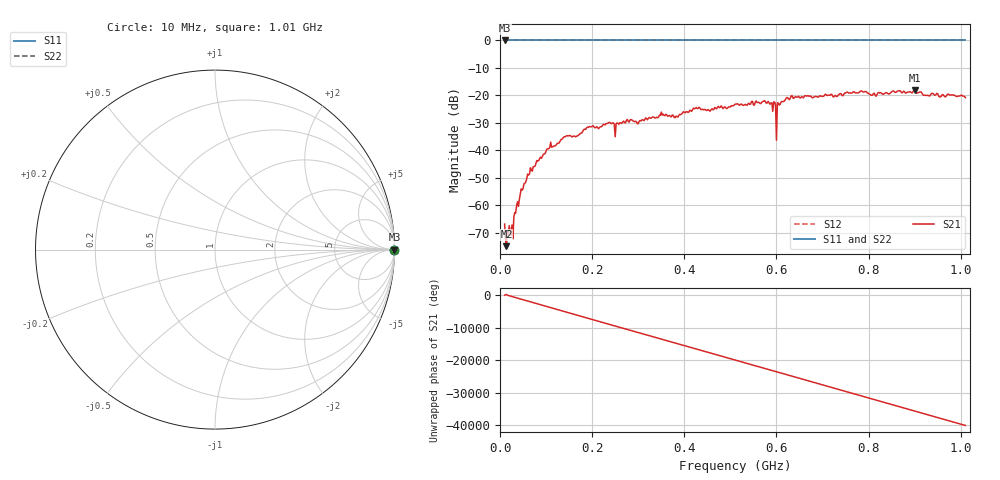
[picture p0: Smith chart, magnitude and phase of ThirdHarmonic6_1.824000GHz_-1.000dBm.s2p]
! 8/16/2025 10:06:09 PM
! C:\ANRITSUVNA\TEMP\TEMP.S2P
! CHANNEL.1
! TR.MEASUREMENT
! RAW.DATA
! RF.CORRECTION.OFF
! AVERAGING.OFF
! IF.BANDWIDTH: 5KHZ
! SWEEPTYPE:  FREQ.SWEEP(Linear)
! Reference Plane Port Info
! PORT:  PORT1  PORT2
! DISTANCE:  0  m  0  m
! TIME:  0  s  0  s
! PHASE.OFFSET:  0  deg.  0  deg.
! LOSS:  0  dB  0  dB
! REF.LOSS:  0  dB  0  dB
! REF.FREQ:  0  Hz  0  Hz
! Power Info
! POWER:  -20  dBm  -20  dBm
! EFF.POWER:  -20  dBm  -20  dBm
! SOURCE.ATTEN:  0  dB  0  dB
! TEST.ATTEN:  0  dB  0  dB
# GHZ S RI R 50.0
! FREQ.GHZ  S11RE  S11IM  S21RE  S21IM  S12RE  S12IM  S22RE  S22IM
!; PortSelection: Port_12
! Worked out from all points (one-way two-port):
!   501 points, 10 MHz to 1.01 GHz, reference 50 ohm
!   highest |S21| = -18.02 dB at 900 MHz (marker M1); lowest = -75.0 dB at 14 MHz (marker M2)
!   lowest |S11| = 0.0 dB at 10 MHz (marker M3)
!   |S11| at or under -10 dB: nowhere
!   |S22| runs from 0.0 to 0.0 dB; largest |S21 - S12| = 1.1
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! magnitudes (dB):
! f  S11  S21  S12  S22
! 10 MHz  0.0  -66.9  0.0  0.0
! 14 MHz  0.0  -75.0  0.0  0.0
! 26 MHz  0.0  -67.2  0.0  0.0
! 34 MHz  0.0  -62.9  0.0  0.0
! 56 MHz  0.0  -51.6  0.0  0.0
! 84 MHz  0.0  -43.8  0.0  0.0
! 140 MHz  0.0  -35.1  0.0  0.0
! 178 MHz  0.0  -33.6  0.0  0.0
! 198 MHz  0.0  -31.5  0.0  0.0
! 254 MHz  0.0  -30.0  0.0  0.0
! 344 MHz  0.0  -28.0  0.0  0.0
! 510 MHz  0.0  -23.2  0.0  0.0
! 578 MHz  0.0  -22.9  0.0  0.0
! 594 MHz  0.0  -22.4  0.0  0.0
! 596 MHz  0.0  -22.4  0.0  0.0
! 604 MHz  0.0  -22.9  0.0  0.0
! 606 MHz  0.0  -23.5  0.0  0.0
! 622 MHz  0.0  -20.9  0.0  0.0
! 678 MHz  0.0  -20.9  0.0  0.0
! 844 MHz  0.0  -19.5  0.0  0.0
! 900 MHz  0.0  -18.0  0.0  0.0
! 1.01 GHz  0.0  -20.8  0.0  0.0
